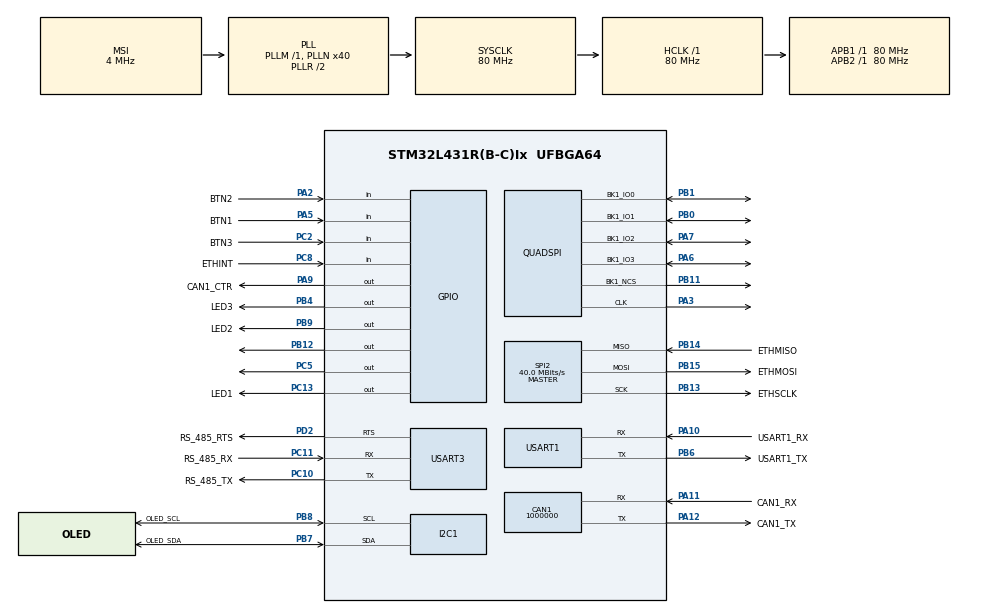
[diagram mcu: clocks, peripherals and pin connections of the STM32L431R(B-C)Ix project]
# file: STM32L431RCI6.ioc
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CAN1.BS1=CAN_BS1_3TQ
CAN1.CalculateBaudRate=1000000
CAN1.CalculateTimeBit=1000
CAN1.CalculateTimeQuantum=200.0
I2C1.Timing=0x10D19CE4
Mcu.Family=STM32L4
Mcu.Name=STM32L431R(B-C)Ix
Mcu.Package=UFBGA64
NVIC.PriorityGroup=NVIC_PRIORITYGROUP_4
PA10.GPIO_Label=USART1_RX
PA10.Mode=Asynchronous
PA10.Signal=USART1_RX
PA11.GPIO_Label=CAN1_RX
PA11.Mode=CAN_Activate
PA11.Signal=CAN1_RX
PA12.GPIO_Label=CAN1_TX
PA12.Mode=CAN_Activate
PA12.Signal=CAN1_TX
PA2.GPIO_Label=BTN2
PA2.Signal=GPIO_Input
PA3.Mode=Single Bank 1
PA3.Signal=QUADSPI_CLK
PA5.GPIO_Label=BTN1
PA5.Signal=GPIO_Input
PA6.Mode=Single Bank 1
PA6.Signal=QUADSPI_BK1_IO3
PA7.Mode=Single Bank 1
PA7.Signal=QUADSPI_BK1_IO2
PA9.GPIO_Label=CAN1_CTR
PA9.Signal=GPIO_Output
PB0.Mode=Single Bank 1
PB0.Signal=QUADSPI_BK1_IO1
PB1.Mode=Single Bank 1
PB1.Signal=QUADSPI_BK1_IO0
PB11.Mode=Single Bank 1
PB11.Signal=QUADSPI_BK1_NCS
PB12.PinState=GPIO_PIN_SET
PB12.Signal=GPIO_Output
PB13.GPIO_Label=ETHSCLK
PB13.Mode=Full_Duplex_Master
PB13.Signal=SPI2_SCK
PB14.GPIO_Label=ETHMISO
PB14.Mode=Full_Duplex_Master
PB14.Signal=SPI2_MISO
PB15.GPIO_Label=ETHMOSI
PB15.Mode=Full_Duplex_Master
PB15.Signal=SPI2_MOSI
PB4\ (NJTRST).GPIO_Label=LED3
PB4\ (NJTRST).Signal=GPIO_Output
PB6.GPIO_Label=USART1_TX
PB6.Mode=Asynchronous
PB6.Signal=USART1_TX
PB7.GPIO_Label=OLED_SDA
PB7.Mode=I2C
PB7.Signal=I2C1_SDA
PB8.GPIO_Label=OLED_SCL
PB8.Mode=I2C
PB8.Signal=I2C1_SCL
PB9.GPIO_Label=LED2
PB9.Signal=GPIO_Output
PC10.GPIO_Label=RS_485_TX
PC10.Mode=Asynchronous
PC10.Signal=USART3_TX
PC11.GPIO_Label=RS_485_RX
PC11.Mode=Asynchronous
PC11.Signal=USART3_RX
PC13.GPIO_Label=LED1
PC13.Signal=GPIO_Output
PC2.GPIO_Label=BTN3
PC2.Signal=GPIO_Input
PC5.PinState=GPIO_PIN_SET
PC5.Signal=GPIO_Output
PC8.GPIO_Label=ETHINT
PC8.Signal=GPIO_Input
PD2.GPIO_Label=RS_485_RTS
PD2.Mode=RTS_Only
PD2.Signal=USART3_RTS
PH0-OSC_IN\ (PH0).Mode=HSE-External-Oscillator
PH0-OSC_IN\ (PH0).Signal=RCC_OSC_IN
PH1-OSC_OUT\ (PH1).Mode=HSE-External-Oscillator
PH1-OSC_OUT\ (PH1).Signal=RCC_OSC_OUT
ProjectManager.HeapSize=0x200
ProjectManager.StackSize=0x400
ProjectManager.TargetToolchain=STM32CubeIDE
RCC.AHBFreq_Value=80000000
RCC.APB1Freq_Value=80000000
RCC.APB1TimFreq_Value=80000000
RCC.APB2Freq_Value=80000000
RCC.APB2TimFreq_Value=80000000
RCC.CortexFreq_Value=80000000
RCC.HCLKFreq_Value=80000000
RCC.HSE_VALUE=8000000
RCC.HSI48_VALUE=48000000
RCC.HSI_VALUE=16000000
RCC.LSE_VALUE=32768
RCC.MSI_VALUE=4000000
RCC.PLLN=40
RCC.SYSCLKFreq_VALUE=80000000
RCC.SYSCLKSource=RCC_SYSCLKSOURCE_PLLCLK
RCC.VCOOutputFreq_Value=160000000
SPI2.CalculateBaudRate=40.0 MBits/s
SPI2.DataSize=SPI_DATASIZE_8BIT
SPI2.Direction=SPI_DIRECTION_2LINES
SPI2.Mode=SPI_MODE_MASTER
SPI2.VirtualType=VM_MASTER
USART1.VirtualMode-Asynchronous=VM_ASYNC
USART3.VirtualMode-Asynchronous=VM_ASYNC
board=custom

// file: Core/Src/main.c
/* USER CODE BEGIN Header */
/**
  ******************************************************************************
  * @file           : main.c
  * @brief          : Main program body
  ******************************************************************************
  * @attention
  *
  * Copyright (c) 2026 STMicroelectronics.
  * All rights reserved.
  *
  * This software is licensed under terms that can be found in the LICENSE file
  * in the root directory of this software component.
  * If no LICENSE file comes with this software, it is provided AS-IS.
  *
  ******************************************************************************
  */
/* USER CODE END Header */
#include "main.h"

/* USER CODE BEGIN Includes */
#include <stdio.h>
#include "w5500.h"
#include "wizchip_conf.h"
#include "socket.h"
#include "../Drivers/W5500/DHCP/dhcp.h"
#include "app.h"
#include "bridge.h"

/* USER CODE END Includes */

/* USER CODE BEGIN PD */

#define W5500_CS_port GPIOB
#define W5500_CS_pin GPIO_PIN_12
#define W5500_RST_port GPIOC
#define W5500_RST_pin GPIO_PIN_5

/* USER CODE END PD */

CAN_HandleTypeDef hcan1;

I2C_HandleTypeDef hi2c1;

QSPI_HandleTypeDef hqspi;

SPI_HandleTypeDef hspi2;

UART_HandleTypeDef huart1;
UART_HandleTypeDef huart3;

void SystemClock_Config(void);
static void MX_GPIO_Init(void);
static void MX_CAN1_Init(void);
static void MX_I2C1_Init(void);
static void MX_QUADSPI_Init(void);
static void MX_SPI2_Init(void);
static void MX_USART1_UART_Init(void);
static void MX_USART3_UART_Init(void);
/* USER CODE BEGIN PFP */
void W5500_Select(void);
void W5500_Unselect(void);
uint8_t W5500_ReadByte(void);
void W5500_WriteByte(uint8_t wb);
void W5500_Reset(void);
/* USER CODE END PFP */

int main(void)
{

  /* MCU Configuration--------------------------------------------------------*/

  /* Reset of all peripherals, Initializes the Flash interface and the Systick. */
  HAL_Init();

  /* Configure the system clock */
  SystemClock_Config();

  /* Initialize all configured peripherals */
  MX_GPIO_Init();
  MX_CAN1_Init();
  MX_I2C1_Init();
  MX_QUADSPI_Init();
  MX_SPI2_Init();
  MX_USART1_UART_Init();
  MX_USART3_UART_Init();
  /* USER CODE BEGIN 2 */
  app_init();
  uint8_t text[10] = "Hello!";
  /* USER CODE END 2 */

  /* Infinite loop */
  /* USER CODE BEGIN WHILE */
  while (1)
  {
	  app_poll();
	  bridge_rs485_send(text, 10);
	  HAL_Delay(300);
	  app_poll();
    /* USER CODE END WHILE */

  }
}

void SystemClock_Config(void)
{
  RCC_OscInitTypeDef RCC_OscInitStruct = {0};
  RCC_ClkInitTypeDef RCC_ClkInitStruct = {0};

  /** Configure the main internal regulator output voltage
  */
  if (HAL_PWREx_ControlVoltageScaling(PWR_REGULATOR_VOLTAGE_SCALE1) != HAL_OK)
  {
    Error_Handler();
  }

  /** Initializes the RCC Oscillators according to the specified parameters
  * in the RCC_OscInitTypeDef structure.
  */
  RCC_OscInitStruct.OscillatorType = RCC_OSCILLATORTYPE_MSI;
  RCC_OscInitStruct.MSIState = RCC_MSI_ON;
  RCC_OscInitStruct.MSICalibrationValue = 0;
  RCC_OscInitStruct.MSIClockRange = RCC_MSIRANGE_6;
  RCC_OscInitStruct.PLL.PLLState = RCC_PLL_ON;
  RCC_OscInitStruct.PLL.PLLSource = RCC_PLLSOURCE_MSI;
  RCC_OscInitStruct.PLL.PLLM = 1;
  RCC_OscInitStruct.PLL.PLLN = 40;
  RCC_OscInitStruct.PLL.PLLP = RCC_PLLP_DIV7;
  RCC_OscInitStruct.PLL.PLLQ = RCC_PLLQ_DIV2;
  RCC_OscInitStruct.PLL.PLLR = RCC_PLLR_DIV2;
  if (HAL_RCC_OscConfig(&RCC_OscInitStruct) != HAL_OK)
  {
    Error_Handler();
  }

  /** Initializes the CPU, AHB and APB buses clocks
  */
  RCC_ClkInitStruct.ClockType = RCC_CLOCKTYPE_HCLK|RCC_CLOCKTYPE_SYSCLK
                              |RCC_CLOCKTYPE_PCLK1|RCC_CLOCKTYPE_PCLK2;
  RCC_ClkInitStruct.SYSCLKSource = RCC_SYSCLKSOURCE_PLLCLK;
  RCC_ClkInitStruct.AHBCLKDivider = RCC_SYSCLK_DIV1;
  RCC_ClkInitStruct.APB1CLKDivider = RCC_HCLK_DIV1;
  RCC_ClkInitStruct.APB2CLKDivider = RCC_HCLK_DIV1;

  if (HAL_RCC_ClockConfig(&RCC_ClkInitStruct, FLASH_LATENCY_4) != HAL_OK)
  {
    Error_Handler();
  }
}

static void MX_CAN1_Init(void)
{

  hcan1.Instance = CAN1;
  hcan1.Init.Prescaler = 16;
  hcan1.Init.Mode = CAN_MODE_NORMAL;
  hcan1.Init.SyncJumpWidth = CAN_SJW_1TQ;
  hcan1.Init.TimeSeg1 = CAN_BS1_3TQ;
  hcan1.Init.TimeSeg2 = CAN_BS2_1TQ;
  hcan1.Init.TimeTriggeredMode = DISABLE;
  hcan1.Init.AutoBusOff = DISABLE;
  hcan1.Init.AutoWakeUp = DISABLE;
  hcan1.Init.AutoRetransmission = DISABLE;
  hcan1.Init.ReceiveFifoLocked = DISABLE;
  hcan1.Init.TransmitFifoPriority = DISABLE;
  if (HAL_CAN_Init(&hcan1) != HAL_OK)
  {
    Error_Handler();
  }

}

static void MX_I2C1_Init(void)
{

  hi2c1.Instance = I2C1;
  hi2c1.Init.Timing = 0x10D19CE4;
  hi2c1.Init.OwnAddress1 = 0;
  hi2c1.Init.AddressingMode = I2C_ADDRESSINGMODE_7BIT;
  hi2c1.Init.DualAddressMode = I2C_DUALADDRESS_DISABLE;
  hi2c1.Init.OwnAddress2 = 0;
  hi2c1.Init.OwnAddress2Masks = I2C_OA2_NOMASK;
  hi2c1.Init.GeneralCallMode = I2C_GENERALCALL_DISABLE;
  hi2c1.Init.NoStretchMode = I2C_NOSTRETCH_DISABLE;
  if (HAL_I2C_Init(&hi2c1) != HAL_OK)
  {
    Error_Handler();
  }

  /** Configure Analogue filter
  */
  if (HAL_I2CEx_ConfigAnalogFilter(&hi2c1, I2C_ANALOGFILTER_ENABLE) != HAL_OK)
  {
    Error_Handler();
  }

  /** Configure Digital filter
  */
  if (HAL_I2CEx_ConfigDigitalFilter(&hi2c1, 0) != HAL_OK)
  {
    Error_Handler();
  }

}

static void MX_QUADSPI_Init(void)
{

  /* QUADSPI parameter configuration*/
  hqspi.Instance = QUADSPI;
  hqspi.Init.ClockPrescaler = 255;
  hqspi.Init.FifoThreshold = 1;
  hqspi.Init.SampleShifting = QSPI_SAMPLE_SHIFTING_NONE;
  hqspi.Init.FlashSize = 1;
  hqspi.Init.ChipSelectHighTime = QSPI_CS_HIGH_TIME_1_CYCLE;
  hqspi.Init.ClockMode = QSPI_CLOCK_MODE_0;
  hqspi.Init.FlashID = QSPI_FLASH_ID_1;
  hqspi.Init.DualFlash = QSPI_DUALFLASH_DISABLE;
  if (HAL_QSPI_Init(&hqspi) != HAL_OK)
  {
    Error_Handler();
  }

}

static void MX_SPI2_Init(void)
{

  /* SPI2 parameter configuration*/
  hspi2.Instance = SPI2;
  hspi2.Init.Mode = SPI_MODE_MASTER;
  hspi2.Init.Direction = SPI_DIRECTION_2LINES;
  hspi2.Init.DataSize = SPI_DATASIZE_8BIT;
  hspi2.Init.CLKPolarity = SPI_POLARITY_LOW;
  hspi2.Init.CLKPhase = SPI_PHASE_1EDGE;
  hspi2.Init.NSS = SPI_NSS_SOFT;
  hspi2.Init.BaudRatePrescaler = SPI_BAUDRATEPRESCALER_2;
  hspi2.Init.FirstBit = SPI_FIRSTBIT_MSB;
  hspi2.Init.TIMode = SPI_TIMODE_DISABLE;
  hspi2.Init.CRCCalculation = SPI_CRCCALCULATION_DISABLE;
  hspi2.Init.CRCPolynomial = 7;
  hspi2.Init.CRCLength = SPI_CRC_LENGTH_DATASIZE;
  hspi2.Init.NSSPMode = SPI_NSS_PULSE_ENABLE;
  if (HAL_SPI_Init(&hspi2) != HAL_OK)
  {
    Error_Handler();
  }

}

static void MX_USART1_UART_Init(void)
{

  huart1.Instance = USART1;
  huart1.Init.BaudRate = 115200;
  huart1.Init.WordLength = UART_WORDLENGTH_8B;
  huart1.Init.StopBits = UART_STOPBITS_1;
  huart1.Init.Parity = UART_PARITY_NONE;
  huart1.Init.Mode = UART_MODE_TX_RX;
  huart1.Init.HwFlowCtl = UART_HWCONTROL_NONE;
  huart1.Init.OverSampling = UART_OVERSAMPLING_16;
  huart1.Init.OneBitSampling = UART_ONE_BIT_SAMPLE_DISABLE;
  huart1.AdvancedInit.AdvFeatureInit = UART_ADVFEATURE_NO_INIT;
  if (HAL_UART_Init(&huart1) != HAL_OK)
  {
    Error_Handler();
  }

}

static void MX_USART3_UART_Init(void)
{

  huart3.Instance = USART3;
  huart3.Init.BaudRate = 115200;
  huart3.Init.WordLength = UART_WORDLENGTH_8B;
  huart3.Init.StopBits = UART_STOPBITS_1;
  huart3.Init.Parity = UART_PARITY_NONE;
  huart3.Init.Mode = UART_MODE_TX_RX;
  huart3.Init.HwFlowCtl = UART_HWCONTROL_RTS;
  huart3.Init.OverSampling = UART_OVERSAMPLING_16;
  huart3.Init.OneBitSampling = UART_ONE_BIT_SAMPLE_DISABLE;
  huart3.AdvancedInit.AdvFeatureInit = UART_ADVFEATURE_NO_INIT;
  if (HAL_UART_Init(&huart3) != HAL_OK)
  {
    Error_Handler();
  }

}

static void MX_GPIO_Init(void)
{
  GPIO_InitTypeDef GPIO_InitStruct = {0};

  /* GPIO Ports Clock Enable */
  __HAL_RCC_GPIOC_CLK_ENABLE();
  __HAL_RCC_GPIOB_CLK_ENABLE();
  __HAL_RCC_GPIOD_CLK_ENABLE();
  __HAL_RCC_GPIOA_CLK_ENABLE();
  __HAL_RCC_GPIOH_CLK_ENABLE();

  /*Configure GPIO pin Output Level */
  HAL_GPIO_WritePin(LED1_GPIO_Port, LED1_Pin, GPIO_PIN_RESET);

  /*Configure GPIO pin Output Level */
  HAL_GPIO_WritePin(GPIOB, LED2_Pin|LED3_Pin, GPIO_PIN_RESET);

  /*Configure GPIO pin Output Level */
  HAL_GPIO_WritePin(CAN1_CTR_GPIO_Port, CAN1_CTR_Pin, GPIO_PIN_RESET);

  /*Configure GPIO pin Output Level */
  HAL_GPIO_WritePin(GPIOC, GPIO_PIN_5, GPIO_PIN_SET);

  /*Configure GPIO pin Output Level */
  HAL_GPIO_WritePin(GPIOB, GPIO_PIN_12, GPIO_PIN_SET);

  /*Configure GPIO pins : LED1_Pin PC5 */
  GPIO_InitStruct.Pin = LED1_Pin|GPIO_PIN_5;
  GPIO_InitStruct.Mode = GPIO_MODE_OUTPUT_PP;
  GPIO_InitStruct.Pull = GPIO_NOPULL;
  GPIO_InitStruct.Speed = GPIO_SPEED_FREQ_LOW;
  HAL_GPIO_Init(GPIOC, &GPIO_InitStruct);

  /*Configure GPIO pins : LED2_Pin LED3_Pin PB12 */
  GPIO_InitStruct.Pin = LED2_Pin|LED3_Pin|GPIO_PIN_12;
  GPIO_InitStruct.Mode = GPIO_MODE_OUTPUT_PP;
  GPIO_InitStruct.Pull = GPIO_NOPULL;
  GPIO_InitStruct.Speed = GPIO_SPEED_FREQ_LOW;
  HAL_GPIO_Init(GPIOB, &GPIO_InitStruct);

  /*Configure GPIO pin : CAN1_CTR_Pin */
  GPIO_InitStruct.Pin = CAN1_CTR_Pin;
  GPIO_InitStruct.Mode = GPIO_MODE_OUTPUT_PP;
  GPIO_InitStruct.Pull = GPIO_NOPULL;
  GPIO_InitStruct.Speed = GPIO_SPEED_FREQ_LOW;
  HAL_GPIO_Init(CAN1_CTR_GPIO_Port, &GPIO_InitStruct);

  /*Configure GPIO pins : ETHINT_Pin BTN3_Pin */
  GPIO_InitStruct.Pin = ETHINT_Pin|BTN3_Pin;
  GPIO_InitStruct.Mode = GPIO_MODE_INPUT;
  GPIO_InitStruct.Pull = GPIO_NOPULL;
  HAL_GPIO_Init(GPIOC, &GPIO_InitStruct);

  /*Configure GPIO pins : BTN2_Pin BTN1_Pin */
  GPIO_InitStruct.Pin = BTN2_Pin|BTN1_Pin;
  GPIO_InitStruct.Mode = GPIO_MODE_INPUT;
  GPIO_InitStruct.Pull = GPIO_NOPULL;
  HAL_GPIO_Init(GPIOA, &GPIO_InitStruct);

}

/* USER CODE BEGIN 4 */
int __io_putchar(int ch)
{
    HAL_UART_Transmit(&huart1, (uint8_t *)&ch, 1, HAL_MAX_DELAY);
    return ch;
}

void W5500_Select(void){
	HAL_GPIO_WritePin(W5500_CS_port, W5500_CS_pin, GPIO_PIN_RESET);
}

void W5500_Unselect(void){
	HAL_GPIO_WritePin(W5500_CS_port, W5500_CS_pin, GPIO_PIN_SET);
}

uint8_t W5500_ReadByte(void){
	uint8_t rb = 0xFF;
	uint8_t wb = 0xFF;
	HAL_SPI_TransmitReceive(&hspi2, &wb, &rb, 1, HAL_MAX_DELAY);
	return rb;
}
void W5500_WriteByte(uint8_t wb){
	HAL_SPI_Transmit(&hspi2, &wb, 1, HAL_MAX_DELAY);

}

void W5500_Reset(void) {
	HAL_GPIO_WritePin(W5500_RST_port, W5500_RST_pin, GPIO_PIN_RESET);
	HAL_Delay(10);
	HAL_GPIO_WritePin(W5500_RST_port, W5500_RST_pin, GPIO_PIN_SET);
	HAL_Delay(50);
}

/* USER CODE END 4 */

void Error_Handler(void)
{
  __disable_irq();
  while (1)
  {
  }
}
